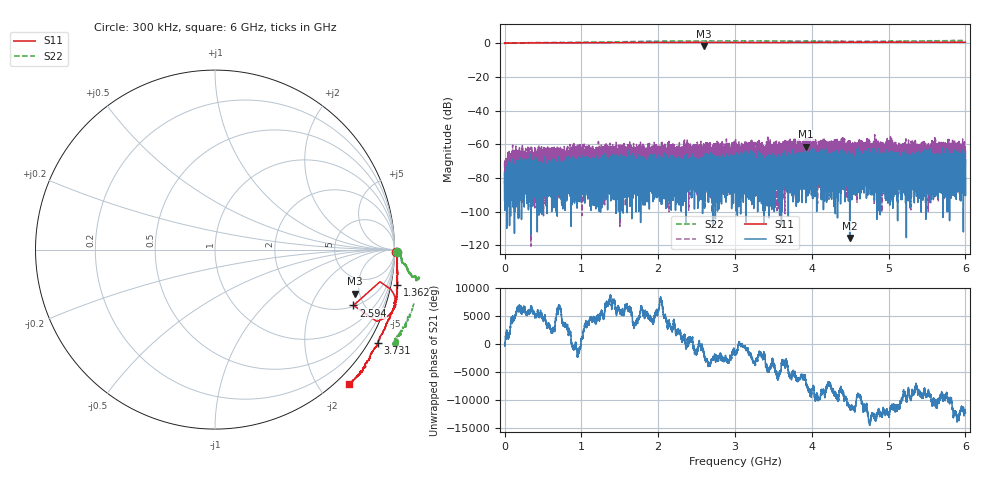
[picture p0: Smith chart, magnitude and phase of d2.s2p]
!Agilent Technologies,N5230C,SG49000117,A.08.50.07
!Agilent N5230C: A.08.50.07
!Date: Thursday, May 16, 2024 17:37:18
!Correction: S11(Full 2 Port(1,2))
!S21(Full 2 Port(1,2))
!S12(Full 2 Port(1,2))
!S22(Full 2 Port(1,2))
!S2P File: Measurements: S11, S21, S12, S22:
# Hz S  MA  R 50
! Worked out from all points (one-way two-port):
!   20001 points, 300 kHz to 6 GHz, reference 50 ohm
!   highest |S21| = -61.43 dB at 3.927 GHz (marker M1); lowest = -115.5 dB at 4.494 GHz (marker M2)
!   lowest |S11| = -1.8 dB at 2.595 GHz (marker M3), VSWR 9.88, Z = 153 - j224 ohm
!   |S11| at or under -10 dB: nowhere
!   |S22| runs from -0.3 to 1.6 dB; largest |S21 - S12| = 0.0018
!   S11 on the Smith chart (normalised r, x): 300 kHz: open; 1.362 GHz: -2, -10; 2.594 GHz: 2.07, -4.17; 3.731 GHz: -0.35, -3.72; 6 GHz: -0.20, -2.39
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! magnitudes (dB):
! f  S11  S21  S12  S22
! 300 kHz  0.1  -82.2  -70.6  0.1
! 71.1 MHz  0.0  -78.5  -71.9  0.0
! 1 GHz  0.2  -79.8  -64.3  0.5
! 1.362 GHz  0.3  -71.7  -72.2  0.7
! 2 GHz  0.4  -72.0  -76.8  1.1
! 2.594 GHz  -1.6  -74.3  -70.4  1.3
! 2.595 GHz  -1.8  -77.7  -71.6  1.3
! 2.869 GHz  0.4  -79.8  -60.8  1.3
! 2.929 GHz  0.4  -79.6  -65.3  1.3
! 3 GHz  0.4  -76.6  -68.8  1.3
! 3.379 GHz  0.4  -72.3  -72.8  1.3
! 3.731 GHz  0.4  -67.8  -64.8  1.2
! 3.927 GHz  0.4  -61.4  -63.7  1.2
! 4 GHz  0.4  -70.8  -85.5  1.2
! 4.494 GHz  0.5  -115.5  -66.7  1.0
! 4.718 GHz  0.5  -77.3  -76.0  1.0
! 4.933 GHz  0.5  -69.7  -65.8  1.1
! 5 GHz  0.5  -66.8  -62.1  1.1
! 5.608 GHz  0.5  -78.1  -74.5  1.4
! 5.865 GHz  0.5  -74.5  -73.7  1.5
! 5.97 GHz  0.5  -72.2  -62.2  1.5
! 6 GHz  0.5  -90.4  -64.8  1.5
